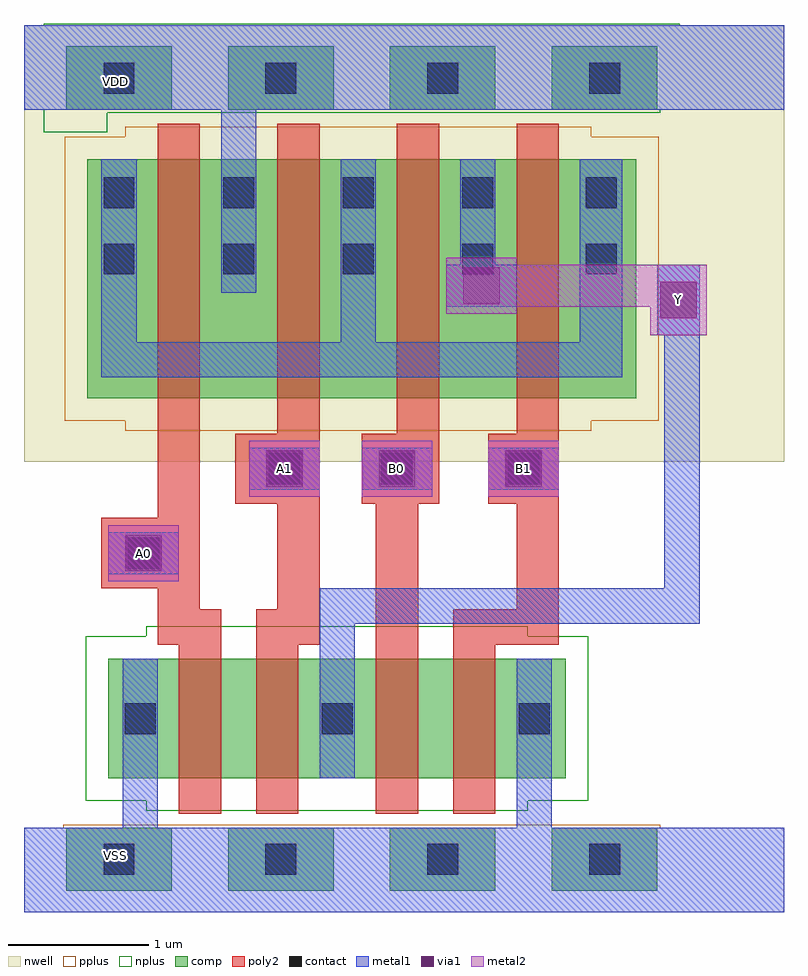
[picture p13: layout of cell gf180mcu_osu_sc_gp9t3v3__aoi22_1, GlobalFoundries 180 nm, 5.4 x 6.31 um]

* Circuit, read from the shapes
.subckt gf180mcu_osu_sc_gp9t3v3__aoi22_1 A0 A1 B0 B1 VDD VSS Y
XM1 n1 A0 VSS VSS nfet_03v3 w=0.85u l=0.3u
XM2 Y A1 n1 VSS nfet_03v3 w=0.85u l=0.3u
XM3 n2 B0 Y VSS nfet_03v3 w=0.85u l=0.3u
XM4 VSS B1 n2 VSS nfet_03v3 w=0.85u l=0.3u
XM5 VDD A0 n3 VDD pfet_03v3 w=1.7u l=0.3u
XM6 n3 A1 VDD VDD pfet_03v3 w=1.7u l=0.3u
XM7 Y B0 n3 VDD pfet_03v3 w=1.7u l=0.3u
XM8 n3 B1 Y VDD pfet_03v3 w=1.7u l=0.3u
.ends

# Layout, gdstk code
import gdstk
lib = gdstk.Library(unit=1e-6, precision=1e-09)
def R(c, l, rs):  # rectangles x0, y0, x1, y1
    for r in rs: c.add(gdstk.rectangle(r[:2], r[2:], *l))
def A(c, l, x, y, w, h, nx, ny, dx, dy):  # array of equal rectangles
    R(c, l, [(x+i*dx, y+j*dy, x+i*dx+w, y+j*dy+h) for i in range(nx) for j in range(ny)])
nwell = (21, 0)
comp = (22, 0)
poly2 = (30, 0)
pplus = (31, 0)
nplus = (32, 0)
contact = (33, 0)
metal1 = (34, 0)
via1 = (35, 0)
metal2 = (36, 0)

gf180mcu_osu_sc_gp9t3v3_ = lib.new_cell('gf180mcu_osu_sc_gp9t3v3__aoi22_1')
R(gf180mcu_osu_sc_gp9t3v3_, nwell, [(0,3.2,5.4,6.3)])
A(gf180mcu_osu_sc_gp9t3v3_, comp, 0.3, 0.15, 0.75, 0.45, 4, 2, 1.15, 5.55)
R(gf180mcu_osu_sc_gp9t3v3_, comp, [(0.6,0.95,3.85,1.8), (0.45,3.65,4.35,5.35)])
A(gf180mcu_osu_sc_gp9t3v3_, poly2, 1.8, 3.4, 0.3, 2.2, 3, 1, 0.85, 0)
R(gf180mcu_osu_sc_gp9t3v3_, poly2, [(1.1,0.7,1.4,1.9), (1.65,0.7,1.95,1.9), (2.5,0.7,2.8,2.9), (3.05,0.7,3.35,1.9), (0.95,1.9,1.4,2.15), (1.65,1.9,2.1,2.15), (3.05,1.9,3.8,2.15), (0.95,2.15,1.25,2.3), (1.8,2.15,2.1,2.9), (3.5,2.15,3.8,2.9), (0.55,2.3,1.25,2.8), (0.95,2.8,1.25,5.6), (1.5,2.9,2.1,3.4), (2.4,2.9,2.95,3.4), (3.3,2.9,3.8,3.4)])
R(gf180mcu_osu_sc_gp9t3v3_, pplus, [(0,0,5.4,0.6), (0.28,0.13,4.52,0.62), (0.72,3.42,4.03,3.49), (0.29,3.49,4.51,5.51), (0.72,5.51,4.03,5.58)])
R(gf180mcu_osu_sc_gp9t3v3_, nplus, [(0.87,0.72,3.58,0.79), (0.44,0.79,4.01,1.96), (0.87,1.96,3.58,2.03), (0.14,5.54,0.59,5.68), (0.14,5.68,4.52,5.7), (0,5.7,5.4,6.3), (0,5.7,5.4,6.3), (0.14,6.3,4.66,6.31)])
A(gf180mcu_osu_sc_gp9t3v3_, contact, 0.565, 0.265, 0.22, 0.22, 4, 2, 1.15, 5.55)
A(gf180mcu_osu_sc_gp9t3v3_, contact, 0.715, 1.265, 0.22, 0.22, 3, 1, 1.4, 0)
A(gf180mcu_osu_sc_gp9t3v3_, contact, 0.565, 4.53, 0.22, 0.22, 4, 2, 0.85, 0.47)
R(gf180mcu_osu_sc_gp9t3v3_, contact, [(0.74,2.44,0.96,2.66), (1.74,3.04,1.96,3.26), (2.54,3.04,2.76,3.26), (3.44,3.04,3.66,3.26), (3.99,4.53,4.21,4.75), (3.99,5,4.21,5.22)])
R(gf180mcu_osu_sc_gp9t3v3_, metal1, [(0,0,5.4,0.6), (0.7,0.6,0.95,1.8), (3.5,0.6,3.75,1.8), (2.1,0.95,2.35,2.05), (2.1,2.05,4.8,2.3), (4.55,2.3,4.8,4.1), (0.6,2.4,1.1,2.7), (1.6,3,2.1,3.3), (2.4,3,2.9,3.3), (3.3,3,3.8,3.3), (0.55,3.8,4.25,4.05), (0.55,4.05,0.8,5.35), (2.25,4.05,2.5,5.35), (3.95,4.05,4.25,5.35), (4.5,4.1,4.8,4.6), (3,4.3,3.5,4.6), (1.4,4.4,1.65,5.7), (3.1,4.6,3.35,5.35), (0,5.7,5.4,6.3)])
R(gf180mcu_osu_sc_gp9t3v3_, via1, [(0.72,2.42,0.98,2.68), (1.72,3.02,1.98,3.28), (2.52,3.02,2.78,3.28), (3.42,3.02,3.68,3.28), (4.52,4.22,4.78,4.48), (3.12,4.32,3.38,4.58)])
R(gf180mcu_osu_sc_gp9t3v3_, metal2, [(0.6,2.35,1.1,2.75), (1.6,2.95,2.1,3.35), (2.4,2.95,2.9,3.35), (3.3,2.95,3.8,3.35), (4.45,4.1,4.85,4.3), (3,4.25,3.5,4.3), (3,4.3,4.85,4.6), (3,4.6,3.5,4.65)])
gf180mcu_osu_sc_gp9t3v3_.add(gdstk.Label('VDD', (0.65,5.9), layer=22, texttype=0))
gf180mcu_osu_sc_gp9t3v3_.add(gdstk.Label('VSS', (0.65,0.4), layer=22, texttype=0))
gf180mcu_osu_sc_gp9t3v3_.add(gdstk.Label('A0', (0.85,2.55), layer=36, texttype=10))
gf180mcu_osu_sc_gp9t3v3_.add(gdstk.Label('A1', (1.85,3.15), layer=36, texttype=10))
gf180mcu_osu_sc_gp9t3v3_.add(gdstk.Label('B0', (2.65,3.15), layer=36, texttype=10))
gf180mcu_osu_sc_gp9t3v3_.add(gdstk.Label('B1', (3.55,3.15), layer=36, texttype=10))
gf180mcu_osu_sc_gp9t3v3_.add(gdstk.Label('Y', (4.65,4.35), layer=36, texttype=10))

lib.write_gds('gf180mcu_osu_sc_gp9t3v3__aoi22_1.gds')
